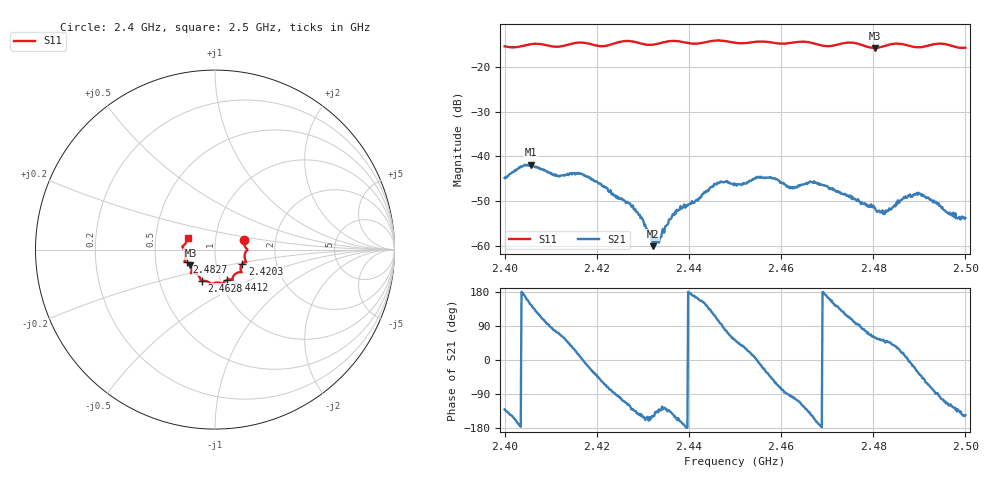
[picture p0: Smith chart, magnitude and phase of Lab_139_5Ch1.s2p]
# Hz S RI R 50
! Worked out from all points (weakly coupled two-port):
!   601 points, 2.4 GHz to 2.5 GHz, reference 50 ohm
!   highest |S21| = -41.88 dB at 2.4057 GHz (marker M1); lowest = -60.1 dB at 2.4322 GHz (marker M2)
!   lowest |S11| = -15.8 dB at 2.4803 GHz (marker M3), VSWR 1.39, Z = 37.4 - j6.77 ohm
!   |S11| at or under -10 dB: start of sweep to end of sweep
!   S12 and S22 are empty: the file has one direction only
!   S11 on the Smith chart (normalised r, x): 2.4 GHz: 1.38, +0.15; 2.4203 GHz: 1.34, -0.22; 2.4412 GHz: 1.08, -0.38; 2.4628 GHz: 0.82, -0.29; 2.4827 GHz: 0.72, -0.10; 2.5 GHz: 0.73, +0.10
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2.4e9  0.1616 0.0527  -0.00368 -0.00436  0 0  0 0
2.405667e9  0.1795 0.002  -0.00669 0.00449  0 0  0 0
2.4115e9  0.1652 -0.0313  0.00184 0.00572  0 0  0 0
2.416667e9  0.1741 -0.069  0.00638 0.000474  0 0  0 0
2.420333e9  0.1524 -0.0792  0.00349 -0.00352  0 0  0 0
2.427333e9  0.1475 -0.1262  -0.00163 -0.00236  0 0  0 0
2.432167e9  0.1065 -0.1415  -0.000847 -0.0005  0 0  0 0
2.433333e9  0.1002 -0.152  -0.000874 -0.000784  0 0  0 0
2.437e9  0.0979 -0.1687  -0.00205 -0.00124  0 0  0 0
2.441167e9  0.0684 -0.1685  -0.00295 0.000544  0 0  0 0
2.446e9  0.0425 -0.1927  -0.0016 0.00454  0 0  0 0
2.45e9  0.0244 -0.1846  0.00295 0.00376  0 0  0 0
2.457333e9  -0.0257 -0.188  0.00448 -0.00364  0 0  0 0
2.462833e9  -0.0718 -0.1737  -0.0007 -0.00432  0 0  0 0
2.466667e9  -0.0809 -0.1675  -0.00425 -0.00287  0 0  0 0
2.480333e9  -0.1372 -0.088  0.00132 0.00231  0 0  0 0
2.482667e9  -0.1578 -0.0705  0.00171 0.00177  0 0  0 0
2.483333e9  -0.1631 -0.0683  0.00168 0.00185  0 0  0 0
2.489833e9  -0.1642 -0.024  0.00318 -0.00226  0 0  0 0
2.4945e9  -0.1816 0.0162  -0.000334 -0.00277  0 0  0 0
2.4985e9  -0.1589 0.0432  -0.00142 -0.00145  0 0  0 0
2.5e9  -0.1511 0.0645  -0.00168 -0.00116  0 0  0 0
